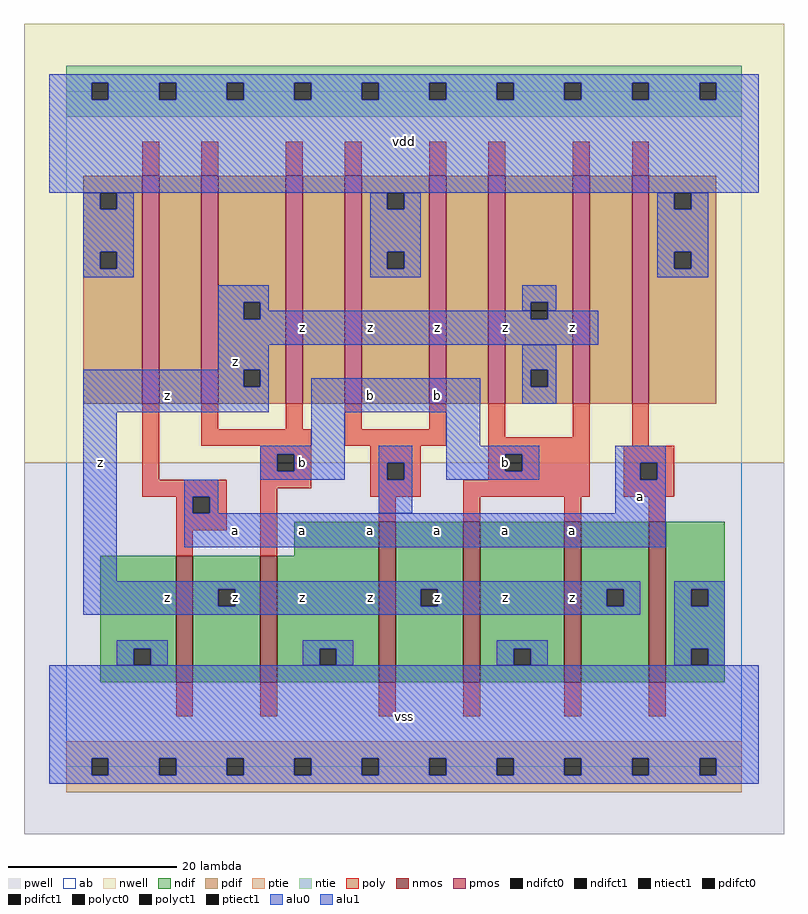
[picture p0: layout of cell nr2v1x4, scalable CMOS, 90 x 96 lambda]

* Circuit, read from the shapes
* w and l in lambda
.subckt nr2v1x4 a b vdd vss z
M1 z a vss vss nfet w=15 l=2
M2 vss b z vss nfet w=15 l=2
M3 z a vss vss nfet w=19 l=2 m=2
M4 vss b z vss nfet w=19 l=2 m=2
M5 n1 a vdd vdd pfet w=27 l=2
M6 z b n1 vdd pfet w=27 l=2
M7 n2 b z vdd pfet w=27 l=2
M8 vdd a n2 vdd pfet w=27 l=2
M9 n3 a vdd vdd pfet w=27 l=2
M10 z b n3 vdd pfet w=27 l=2
M11 n4 b z vdd pfet w=27 l=2
M12 vdd a n4 vdd pfet w=27 l=2
.ends

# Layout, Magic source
magic
tech scmos
<< ab >>
rect 0 0 80 80
<< nwell >>
rect -5 36 85 88
<< pwell >>
rect -5 -8 85 36
<< poly >>
rect 9 70 11 74
rect 16 70 18 74
rect 26 70 28 74
rect 33 70 35 74
rect 43 70 45 74
rect 50 70 52 74
rect 60 70 62 74
rect 67 70 69 74
rect 9 34 11 43
rect 16 40 18 43
rect 26 40 28 43
rect 33 40 35 43
rect 43 40 45 43
rect 16 38 29 40
rect 33 38 45 40
rect 50 39 52 43
rect 60 39 62 43
rect 23 37 29 38
rect 23 35 25 37
rect 27 35 29 37
rect 9 32 19 34
rect 13 30 15 32
rect 17 30 19 32
rect 13 28 19 30
rect 23 33 29 35
rect 36 36 42 38
rect 36 34 38 36
rect 40 34 42 36
rect 50 37 62 39
rect 67 38 69 43
rect 50 35 52 37
rect 54 35 62 37
rect 50 34 62 35
rect 13 25 15 28
rect 23 25 25 33
rect 36 32 42 34
rect 47 32 62 34
rect 66 36 72 38
rect 66 34 68 36
rect 70 34 72 36
rect 66 32 72 34
rect 37 29 39 32
rect 47 29 49 32
rect 59 29 61 32
rect 69 29 71 32
rect 13 6 15 10
rect 23 6 25 10
rect 37 6 39 10
rect 47 6 49 10
rect 59 6 61 10
rect 69 6 71 10
<< ndif >>
rect 27 25 37 29
rect 4 14 13 25
rect 4 12 8 14
rect 10 12 13 14
rect 4 10 13 12
rect 15 21 23 25
rect 15 19 18 21
rect 20 19 23 21
rect 15 10 23 19
rect 25 14 37 25
rect 25 12 30 14
rect 32 12 37 14
rect 25 10 37 12
rect 39 21 47 29
rect 39 19 42 21
rect 44 19 47 21
rect 39 10 47 19
rect 49 14 59 29
rect 49 12 53 14
rect 55 12 59 14
rect 49 10 59 12
rect 61 21 69 29
rect 61 19 64 21
rect 66 19 69 21
rect 61 10 69 19
rect 71 21 78 29
rect 71 19 74 21
rect 76 19 78 21
rect 71 14 78 19
rect 71 12 74 14
rect 76 12 78 14
rect 71 10 78 12
<< pdif >>
rect 2 68 9 70
rect 2 66 4 68
rect 6 66 9 68
rect 2 61 9 66
rect 2 59 4 61
rect 6 59 9 61
rect 2 43 9 59
rect 11 43 16 70
rect 18 55 26 70
rect 18 53 21 55
rect 23 53 26 55
rect 18 47 26 53
rect 18 45 21 47
rect 23 45 26 47
rect 18 43 26 45
rect 28 43 33 70
rect 35 68 43 70
rect 35 66 38 68
rect 40 66 43 68
rect 35 61 43 66
rect 35 59 38 61
rect 40 59 43 61
rect 35 43 43 59
rect 45 43 50 70
rect 52 55 60 70
rect 52 53 55 55
rect 57 53 60 55
rect 52 47 60 53
rect 52 45 55 47
rect 57 45 60 47
rect 52 43 60 45
rect 62 43 67 70
rect 69 68 77 70
rect 69 66 72 68
rect 74 66 77 68
rect 69 61 77 66
rect 69 59 72 61
rect 74 59 77 61
rect 69 43 77 59
<< alu1 >>
rect -2 81 82 82
rect -2 79 3 81
rect 5 79 11 81
rect 13 79 19 81
rect 21 79 27 81
rect 29 79 35 81
rect 37 79 43 81
rect 45 79 51 81
rect 53 79 59 81
rect 61 79 67 81
rect 69 79 75 81
rect 77 79 82 81
rect -2 68 82 79
rect 18 55 24 57
rect 18 53 21 55
rect 23 54 24 55
rect 23 53 55 54
rect 57 53 63 54
rect 18 50 63 53
rect 18 47 24 50
rect 2 45 21 47
rect 23 45 24 47
rect 2 42 24 45
rect 29 42 49 46
rect 2 22 6 42
rect 29 38 33 42
rect 45 38 49 42
rect 23 37 33 38
rect 23 35 25 37
rect 27 35 33 37
rect 23 34 33 35
rect 45 37 56 38
rect 45 35 52 37
rect 54 35 56 37
rect 45 34 56 35
rect 65 36 71 38
rect 65 34 68 36
rect 70 34 71 36
rect 14 32 18 34
rect 14 30 15 32
rect 17 30 18 32
rect 65 30 71 34
rect 14 26 71 30
rect 2 21 68 22
rect 2 19 18 21
rect 20 19 42 21
rect 44 19 64 21
rect 66 19 68 21
rect 2 18 68 19
rect -2 1 82 12
rect -2 -1 3 1
rect 5 -1 11 1
rect 13 -1 19 1
rect 21 -1 27 1
rect 29 -1 35 1
rect 37 -1 43 1
rect 45 -1 51 1
rect 53 -1 59 1
rect 61 -1 67 1
rect 69 -1 75 1
rect 77 -1 82 1
rect -2 -2 82 -1
<< ptie >>
rect 0 1 80 3
rect 0 -1 3 1
rect 5 -1 11 1
rect 13 -1 19 1
rect 21 -1 27 1
rect 29 -1 35 1
rect 37 -1 43 1
rect 45 -1 51 1
rect 53 -1 59 1
rect 61 -1 67 1
rect 69 -1 75 1
rect 77 -1 80 1
rect 0 -3 80 -1
<< ntie >>
rect 0 81 80 83
rect 0 79 3 81
rect 5 79 11 81
rect 13 79 19 81
rect 21 79 27 81
rect 29 79 35 81
rect 37 79 43 81
rect 45 79 51 81
rect 53 79 59 81
rect 61 79 67 81
rect 69 79 75 81
rect 77 79 80 81
rect 0 77 80 79
<< nmos >>
rect 13 10 15 25
rect 23 10 25 25
rect 37 10 39 29
rect 47 10 49 29
rect 59 10 61 29
rect 69 10 71 29
<< pmos >>
rect 9 43 11 70
rect 16 43 18 70
rect 26 43 28 70
rect 33 43 35 70
rect 43 43 45 70
rect 50 43 52 70
rect 60 43 62 70
rect 67 43 69 70
<< polyct0 >>
rect 38 34 40 36
<< polyct1 >>
rect 25 35 27 37
rect 15 30 17 32
rect 52 35 54 37
rect 68 34 70 36
<< ndifct0 >>
rect 8 12 10 14
rect 30 12 32 14
rect 53 12 55 14
rect 74 19 76 21
rect 74 12 76 14
<< ndifct1 >>
rect 18 19 20 21
rect 42 19 44 21
rect 64 19 66 21
<< ntiect1 >>
rect 3 79 5 81
rect 11 79 13 81
rect 19 79 21 81
rect 27 79 29 81
rect 35 79 37 81
rect 43 79 45 81
rect 51 79 53 81
rect 59 79 61 81
rect 67 79 69 81
rect 75 79 77 81
<< ptiect1 >>
rect 3 -1 5 1
rect 11 -1 13 1
rect 19 -1 21 1
rect 27 -1 29 1
rect 35 -1 37 1
rect 43 -1 45 1
rect 51 -1 53 1
rect 59 -1 61 1
rect 67 -1 69 1
rect 75 -1 77 1
<< pdifct0 >>
rect 4 66 6 68
rect 4 59 6 61
rect 38 66 40 68
rect 38 59 40 61
rect 55 54 57 55
rect 55 45 57 47
rect 72 66 74 68
rect 72 59 74 61
<< pdifct1 >>
rect 21 53 23 55
rect 21 45 23 47
rect 55 53 57 54
<< alu0 >>
rect 2 66 4 68
rect 6 66 8 68
rect 2 61 8 66
rect 2 59 4 61
rect 6 59 8 61
rect 2 58 8 59
rect 36 66 38 68
rect 40 66 42 68
rect 36 61 42 66
rect 36 59 38 61
rect 40 59 42 61
rect 36 58 42 59
rect 70 66 72 68
rect 74 66 76 68
rect 70 61 76 66
rect 70 59 72 61
rect 74 59 76 61
rect 70 58 76 59
rect 54 55 58 57
rect 54 54 55 55
rect 57 54 58 55
rect 54 47 58 50
rect 54 45 55 47
rect 57 45 58 47
rect 54 43 58 45
rect 37 36 41 38
rect 37 34 38 36
rect 40 34 41 36
rect 37 30 41 34
rect 72 21 78 22
rect 72 19 74 21
rect 76 19 78 21
rect 6 14 12 15
rect 6 12 8 14
rect 10 12 12 14
rect 28 14 34 15
rect 28 12 30 14
rect 32 12 34 14
rect 51 14 57 15
rect 51 12 53 14
rect 55 12 57 14
rect 72 14 78 19
rect 72 12 74 14
rect 76 12 78 14
<< labels >>
rlabel alu1 4 36 4 36 6 z
rlabel alu1 12 20 12 20 6 z
rlabel alu1 20 20 20 20 6 z
rlabel alu1 20 28 20 28 6 a
rlabel alu1 28 20 28 20 6 z
rlabel alu1 28 28 28 28 6 a
rlabel alu1 12 44 12 44 6 z
rlabel alu1 28 36 28 36 6 b
rlabel alu1 28 52 28 52 6 z
rlabel alu1 20 48 20 48 6 z
rlabel alu1 40 6 40 6 6 vss
rlabel alu1 36 20 36 20 6 z
rlabel alu1 36 28 36 28 6 a
rlabel alu1 44 20 44 20 6 z
rlabel alu1 44 28 44 28 6 a
rlabel alu1 36 44 36 44 6 b
rlabel alu1 44 44 44 44 6 b
rlabel alu1 36 52 36 52 6 z
rlabel alu1 44 52 44 52 6 z
rlabel alu1 40 74 40 74 6 vdd
rlabel alu1 52 20 52 20 6 z
rlabel alu1 52 28 52 28 6 a
rlabel alu1 60 20 60 20 6 z
rlabel alu1 60 28 60 28 6 a
rlabel alu1 52 36 52 36 6 b
rlabel alu1 60 52 60 52 6 z
rlabel alu1 52 52 52 52 6 z
rlabel alu1 68 32 68 32 6 a
<< end >>
